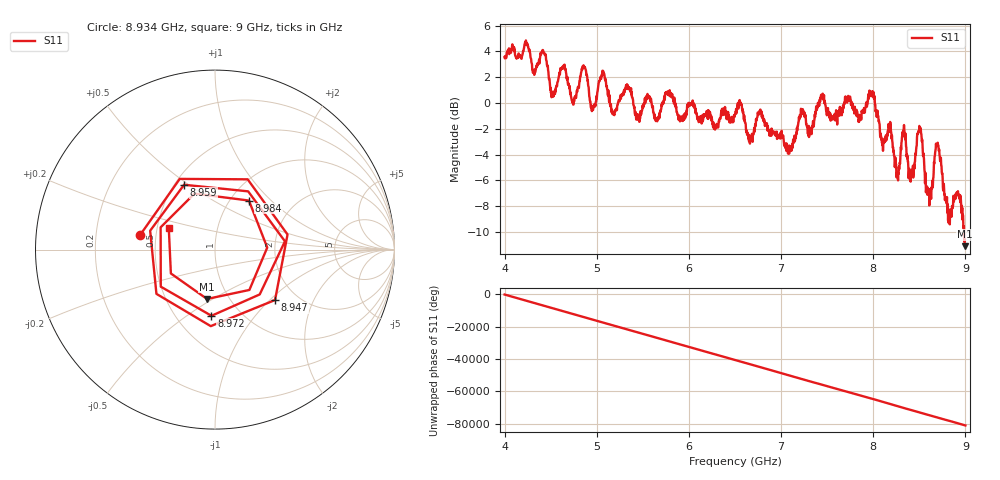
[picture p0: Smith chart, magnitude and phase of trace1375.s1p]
! Created with skrf 1.8.0 (http://scikit-rf.org).
# Hz S RI R 50.0
!freq ReS11 ImS11
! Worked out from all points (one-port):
!   1601 points, 4 GHz to 9 GHz, reference 50 ohm
!   lowest |S11| = -11.1 dB at 8.994 GHz (marker M1), VSWR 1.77, Z = 39.5 - j23.6 ohm
!   |S11| at or under -10 dB: 8.985506 GHz to end of sweep
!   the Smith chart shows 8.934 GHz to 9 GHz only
!   S11 on the Smith chart (normalised r, x): 8.934 GHz: 0.41, +0.08; 8.947 GHz: 1.55, -1.08; 8.959 GHz: 0.56, +0.48; 8.972 GHz: 0.73, -0.63; 8.984 GHz: 1.21, +0.75; 9 GHz: 0.58, +0.15
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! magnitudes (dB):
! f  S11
! 4 GHz  3.6
! 4.422 GHz  3.9
! 4.528 GHz  0.5
! 4.625 GHz  2.7
! 4.744 GHz  -0.1
! 4.859 GHz  2.9
! 4.953 GHz  -0.3
! 5.059 GHz  2.1
! 5.25 GHz  0.2
! 5.875 GHz  -0.9
! 6.5 GHz  -0.9
! 7.125 GHz  -3.5
! 7.75 GHz  0.5
! 7.988 GHz  0.7
! 8.259 GHz  -5.5
! 8.328 GHz  -2.1
! 8.375 GHz  -4.5
! 8.5 GHz  -1.8
! 8.597 GHz  -7.0
! 8.697 GHz  -3.2
! 8.828 GHz  -8.5
! 8.934 GHz  -7.4
! 8.947 GHz  -7.2
! 8.959 GHz  -8.0
! 8.972 GHz  -8.7
! 8.984 GHz  -9.6
! 8.994 GHz  -11.1
! 9 GHz  -11.0
